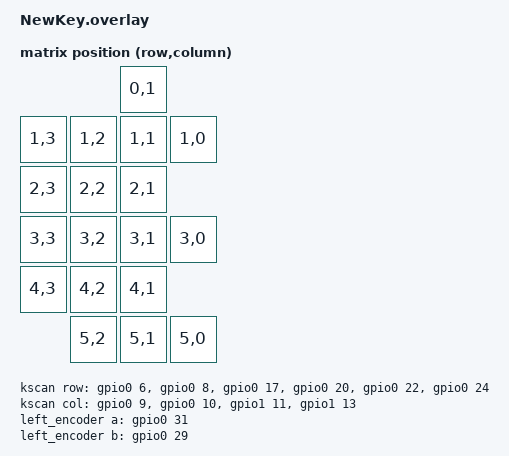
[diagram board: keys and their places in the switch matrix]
#include <dt-bindings/zmk/matrix_transform.h>

/ {
    chosen {
        zmk,kscan = &kscan;
        zmk,physical-layout = &physical_layout;
    };

    physical_layout: physical_layout {
        compatible = "zmk,physical-layout";
        display-name = "Default Layout";
        transform = <&default_transform>;
    };

    default_transform: matrix_transform {
        compatible = "zmk,matrix-transform";
        columns = <4>;
        rows = <6>;
        map = <
                            RC(0,1)

            RC(1,3) RC(1,2) RC(1,1) RC(1,0)

            RC(2,3) RC(2,2) RC(2,1)

            RC(3,3) RC(3,2) RC(3,1) RC(3,0)

            RC(4,3) RC(4,2) RC(4,1)

                    RC(5,2) RC(5,1) RC(5,0)
                
        >;
    };

    kscan: kscan {
        compatible = "zmk,kscan-gpio-matrix";
        label =  "default_kscan";
        diode-direction = "col2row";
        
        row-gpios = <&gpio0 6 (GPIO_ACTIVE_HIGH | GPIO_PULL_DOWN)>,
                    <&gpio0 8 (GPIO_ACTIVE_HIGH | GPIO_PULL_DOWN)>,
                    <&gpio0 17 (GPIO_ACTIVE_HIGH | GPIO_PULL_DOWN)>,
                    <&gpio0 20 (GPIO_ACTIVE_HIGH | GPIO_PULL_DOWN)>,
                    <&gpio0 22 (GPIO_ACTIVE_HIGH | GPIO_PULL_DOWN)>,
                    <&gpio0 24 (GPIO_ACTIVE_HIGH | GPIO_PULL_DOWN)>;


        col-gpios = <&gpio0 9 GPIO_ACTIVE_HIGH>,
                    <&gpio0 10 GPIO_ACTIVE_HIGH>,
                    <&gpio1 11 GPIO_ACTIVE_HIGH>,
                    <&gpio1 13 GPIO_ACTIVE_HIGH>;
            
    };

        left_encoder: encoder_left {
        compatible = "alps,ec11";
        a-gpios = <&gpio0 31 (GPIO_ACTIVE_HIGH | GPIO_PULL_DOWN)>;
        b-gpios = <&gpio0 29 (GPIO_ACTIVE_HIGH | GPIO_PULL_DOWN)>;
        steps = <12>;
    };

    sensors: sensors {
        compatible = "zmk,keymap-sensors";
        sensors = <&left_encoder>;
        triggers-per-rotation = <6>;
    };

};

&i2c0 {
    status = "okay";
    sda-pin = <100>;   /* P1.00 */
    scl-pin = <11>;    /* P0.11 */

    ssd1306: ssd1306@3c {
        compatible = "solomon,ssd1306fb";
        reg = <0x3c>;
        label = "OLED";
        width = <128>;
        height = <64>;
        segment-offset = <0>;
        page-offset = <0>;
        display-offset = <0>;
        multiplex-ratio = <63>;
        prechargep = <0x22>;
    };
};
